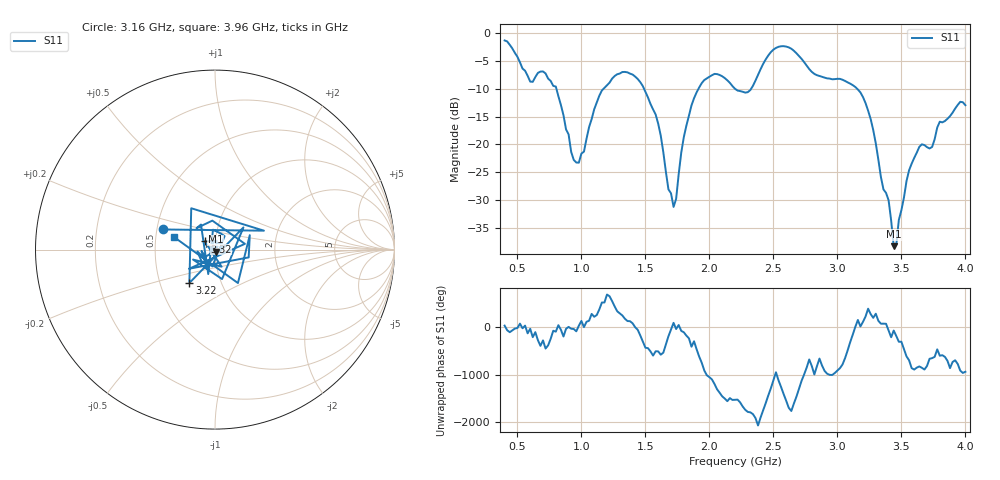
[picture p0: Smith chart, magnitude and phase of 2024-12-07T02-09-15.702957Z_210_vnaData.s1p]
!Created with skrf (http://scikit-rf.org).
# Hz S RI R 50.0
!freq ReS11 ImS11
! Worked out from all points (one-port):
!   181 points, 400 MHz to 4 GHz, reference 50 ohm
!   lowest |S11| = -38.3 dB at 3.44 GHz (marker M1), VSWR 1.02, Z = 50.5 - j1.12 ohm
!   |S11| at or under -10 dB: 804.4 MHz to 1.174 GHz (369.7 MHz wide, 37.4 % of centre); 1.489 GHz to 1.915 GHz (426.3 MHz wide, 25 % of centre); 3.153 GHz to end of sweep (the widest 3 of 4)
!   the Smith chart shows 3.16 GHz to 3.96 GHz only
!   S11 on the Smith chart (normalised r, x): 3.16 GHz: 0.54, +0.13; 3.22 GHz: 0.70, -0.28; 3.32 GHz: 0.89, +0.08; 3.96 GHz: 0.62, +0.09
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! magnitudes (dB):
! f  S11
! 400 MHz  -1.4
! 600 MHz  -8.7
! 720 MHz  -7.3
! 860 MHz  -14.8
! 940 MHz  -22.8
! 980 MHz  -23.3
! 1.14 GHz  -11.3
! 1.3 GHz  -7.3
! 1.44 GHz  -8.3
! 1.58 GHz  -14.6
! 1.72 GHz  -31.2
! 1.76 GHz  -25.3
! 1.86 GHz  -13.0
! 1.94 GHz  -9.0
! 2.06 GHz  -7.4
! 2.2 GHz  -10.0
! 2.32 GHz  -10.2
! 2.52 GHz  -2.7
! 2.66 GHz  -3.2
! 3.1 GHz  -9.1
! 3.16 GHz  -10.1
! 3.22 GHz  -12.6
! 3.32 GHz  -22.7
! 3.4 GHz  -30.0
! 3.44 GHz  -38.3
! 3.56 GHz  -24.6
! 3.96 GHz  -12.4
! 4 GHz  -13.0
